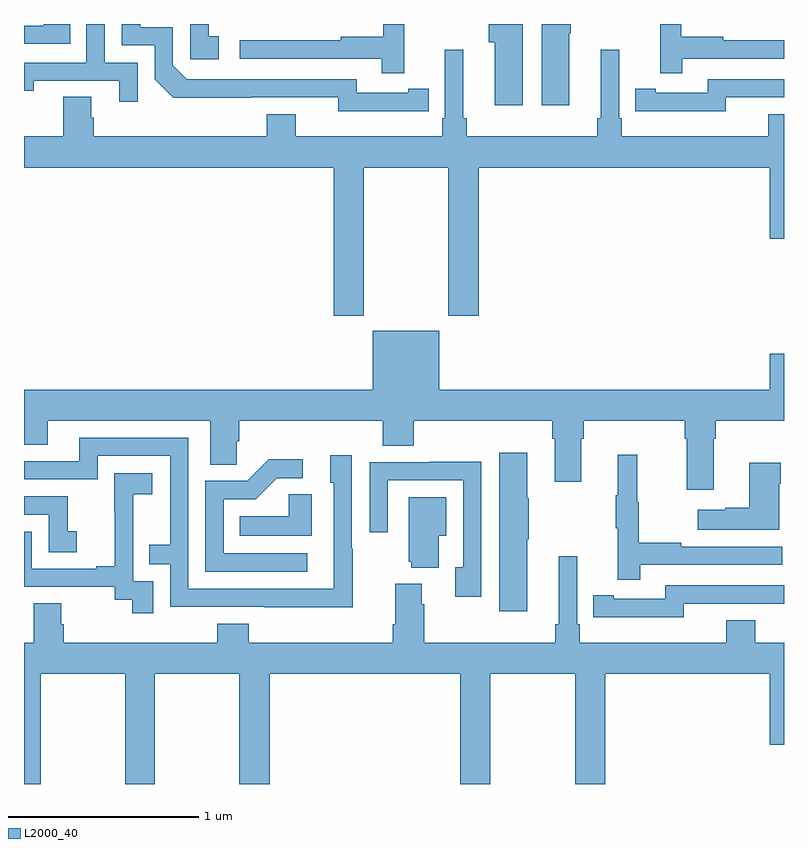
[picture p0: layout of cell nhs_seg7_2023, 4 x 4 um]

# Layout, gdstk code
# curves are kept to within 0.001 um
import gdstk
lib = gdstk.Library(unit=1e-6, precision=1e-09)
def P(c, l, *ps):  # polygons
    for p in ps: c.add(gdstk.Polygon(p, *l))
L2000_40 = (2000, 40)

nhs_seg7_2023 = lib.new_cell('nhs_seg7_2023')
P(nhs_seg7_2023, L2000_40, [(245.243,1040),(245.103,1040),(245.103,1039.992),(245,1039.992),(245,1039.896),(245.243,1039.896)],
  [(248.465,1039.818),(249,1039.818),(249,1039.914),(248.681,1039.914),(248.681,1039.934),(248.458,1039.934),(248.458,1040),(248.348,1040),(248.348,1039.74),(248.465,1039.74)],
  [(246.025,1039.935),(245.972,1039.935),(245.972,1040),(245.874,1040),(245.874,1039.815),(246.025,1039.815)],
  [(247.022,1039.542),(247.13,1039.542),(247.13,1039.658),(247.022,1039.658),(247.022,1039.638),(246.75,1039.638),(246.75,1039.71),(245.856,1039.71),(245.784,1039.782),(245.784,1039.983),(245.611,1039.983),(245.611,1040),(245.514,1040),(245.514,1039.887),(245.688,1039.887),(245.688,1039.71),(245.786,1039.613),(246.654,1039.614),(246.654,1039.541)],
  [(245.598,1039.797),(245.424,1039.797),(245.424,1040),(245.328,1040),(245.328,1039.797),(245,1039.797),(245,1039.65),(245.05,1039.65),(245.05,1039.701),(245.501,1039.701),(245.501,1039.59),(245.598,1039.59)],
  [(247.624,1040),(247.445,1040),(247.445,1039.904),(247.478,1039.904),(247.478,1039.572),(247.624,1039.572)],
  [(247.001,1040),(246.891,1040),(246.891,1039.934),(246.667,1039.934),(246.667,1039.914),(246.135,1039.914),(246.135,1039.818),(246.883,1039.818),(246.883,1039.74),(247.001,1039.74)],
  [(247.87,1039.951),(247.878,1039.951),(247.878,1040),(247.724,1040),(247.724,1039.572),(247.87,1039.572)],
  [(246.789,1039.244),(247.234,1039.244),(247.234,1038.465),(247.394,1038.465),(247.394,1039.244),(248.924,1039.244),(248.924,1038.87),(249,1038.87),(249,1039.525),(248.918,1039.525),(248.918,1039.408),(248.147,1039.408),(248.147,1039.504),(248.133,1039.504),(248.133,1039.864),(248.036,1039.864),(248.036,1039.504),(248.017,1039.504),(248.017,1039.408),(247.331,1039.408),(247.331,1039.504),(247.312,1039.504),(247.312,1039.864),(247.215,1039.864),(247.215,1039.504),(247.202,1039.504),(247.202,1039.408),(246.43,1039.408),(246.43,1039.525),(246.278,1039.525),(246.278,1039.408),(245.366,1039.408),(245.366,1039.506),(245.353,1039.506),(245.353,1039.616),(245.206,1039.616),(245.206,1039.408),(245,1039.408),(245,1039.244),(246.629,1039.244),(246.629,1038.465),(246.789,1038.465)],
  [(248.694,1039.614),(249,1039.614),(249,1039.71),(248.598,1039.71),(248.598,1039.638),(248.326,1039.638),(248.326,1039.658),(248.218,1039.658),(248.218,1039.542),(248.326,1039.542),(248.326,1039.541),(248.694,1039.541)],
  [(248.629,1037.816),(248.642,1037.816),(248.642,1037.912),(249,1037.912),(249,1038.265),(248.924,1038.265),(248.924,1038.076),(247.186,1038.076),(247.186,1038.385),(246.836,1038.385),(246.836,1038.076),(245,1038.076),(245,1037.785),(245.125,1037.785),(245.125,1037.912),(245.981,1037.912),(245.981,1037.68),(246.12,1037.68),(246.12,1037.803),(246.134,1037.803),(246.134,1037.912),(246.887,1037.912),(246.887,1037.779),(247.052,1037.779),(247.052,1037.912),(247.781,1037.912),(247.781,1037.816),(247.793,1037.816),(247.793,1037.592),(247.933,1037.592),(247.933,1037.816),(247.946,1037.816),(247.946,1037.912),(248.477,1037.912),(248.477,1037.816),(248.489,1037.816),(248.489,1037.55),(248.629,1037.55)],
  [(246.729,1037.237),(246.726,1037.237),(246.726,1037.731),(246.611,1037.731),(246.611,1037.586),(246.63,1037.586),(246.63,1037.028),(245.865,1037.028),(245.865,1037.823),(245.291,1037.823),(245.291,1037.7),(245,1037.7),(245,1037.604),(245.388,1037.604),(245.388,1037.727),(245.769,1037.727),(245.769,1037.258),(245.659,1037.258),(245.659,1037.157),(245.769,1037.157),(245.769,1036.932),(246.265,1036.932),(246.265,1036.93),(246.729,1036.93)],
  [(247.648,1037.287),(247.656,1037.287),(247.656,1037.504),(247.648,1037.504),(247.648,1037.743),(247.502,1037.743),(247.502,1036.908),(247.648,1036.908)],
  [(248.243,1037.154),(248.992,1037.154),(248.992,1037.25),(248.459,1037.25),(248.459,1037.27),(248.236,1037.27),(248.236,1037.484),(248.228,1037.484),(248.228,1037.734),(248.126,1037.734),(248.126,1037.521),(248.115,1037.521),(248.115,1037.347),(248.126,1037.347),(248.126,1037.076),(248.243,1037.076)],
  [(246.49,1037.214),(246.051,1037.214),(246.051,1037.499),(246.22,1037.499),(246.331,1037.61),(246.466,1037.61),(246.466,1037.708),(246.287,1037.708),(246.174,1037.595),(245.955,1037.595),(245.955,1037.118),(246.49,1037.118)],
  [(247.407,1037.696),(247.135,1037.696),(247.135,1037.694),(246.819,1037.694),(246.819,1037.325),(246.915,1037.325),(246.915,1037.598),(247.311,1037.598),(247.311,1037.142),(247.271,1037.142),(247.271,1036.986),(247.407,1036.986)],
  [(248.974,1037.579),(248.982,1037.579),(248.982,1037.692),(248.816,1037.692),(248.816,1037.453),(248.69,1037.453),(248.69,1037.443),(248.547,1037.443),(248.547,1037.339),(248.974,1037.339)],
  [(245.679,1037.067),(245.574,1037.067),(245.574,1037.297),(245.576,1037.297),(245.576,1037.525),(245.674,1037.525),(245.674,1037.635),(245.476,1037.635),(245.476,1037.429),(245.477,1037.429),(245.477,1037.146),(245.381,1037.146),(245.381,1037.133),(245.04,1037.133),(245.04,1037.328),(245,1037.328),(245,1037.037),(245.478,1037.037),(245.478,1036.969),(245.571,1036.969),(245.571,1036.899),(245.679,1036.899)],
  [(246.514,1037.525),(246.393,1037.525),(246.393,1037.41),(246.136,1037.41),(246.136,1037.306),(246.514,1037.306)],
  [(245.278,1037.329),(245.229,1037.329),(245.229,1037.514),(245,1037.514),(245,1037.418),(245.13,1037.418),(245.13,1037.22),(245.278,1037.22)],
  [(247.183,1037.306),(247.222,1037.306),(247.222,1037.509),(247.025,1037.509),(247.025,1037.169),(247.037,1037.169),(247.037,1037.138),(247.183,1037.138)],
  [(248.472,1036.95),(248.932,1036.95),(248.932,1036.949),(249,1036.949),(249,1037.046),(248.376,1037.046),(248.376,1036.974),(248.104,1036.974),(248.104,1036.994),(247.996,1036.994),(247.996,1036.878),(248.104,1036.878),(248.104,1036.877),(248.472,1036.877)],
  [(248.849,1036.861),(248.696,1036.861),(248.696,1036.744),(247.925,1036.744),(247.925,1036.84),(247.911,1036.84),(247.911,1037.2),(247.814,1037.2),(247.814,1036.84),(247.795,1036.84),(247.795,1036.744),(247.106,1036.744),(247.106,1036.946),(247.093,1036.946),(247.093,1037.053),(246.953,1037.053),(246.953,1036.84),(246.941,1036.84),(246.941,1036.744),(246.182,1036.744),(246.182,1036.843),(246.017,1036.843),(246.017,1036.744),(245.21,1036.744),(245.21,1036.842),(245.197,1036.842),(245.197,1036.952),(245.05,1036.952),(245.05,1036.744),(245,1036.744),(245,1036),(245.088,1036),(245.088,1036.58),(245.533,1036.58),(245.533,1036),(245.688,1036),(245.688,1036.58),(246.133,1036.58),(246.133,1036),(246.293,1036),(246.293,1036.58),(247.295,1036.58),(247.295,1036),(247.455,1036),(247.455,1036.58),(247.9,1036.58),(247.9,1036),(248.06,1036),(248.06,1036.58),(248.924,1036.58),(248.924,1036.206),(249,1036.206),(249,1036.744),(248.849,1036.744)])

lib.write_gds('nhs_seg7_2023.gds')
